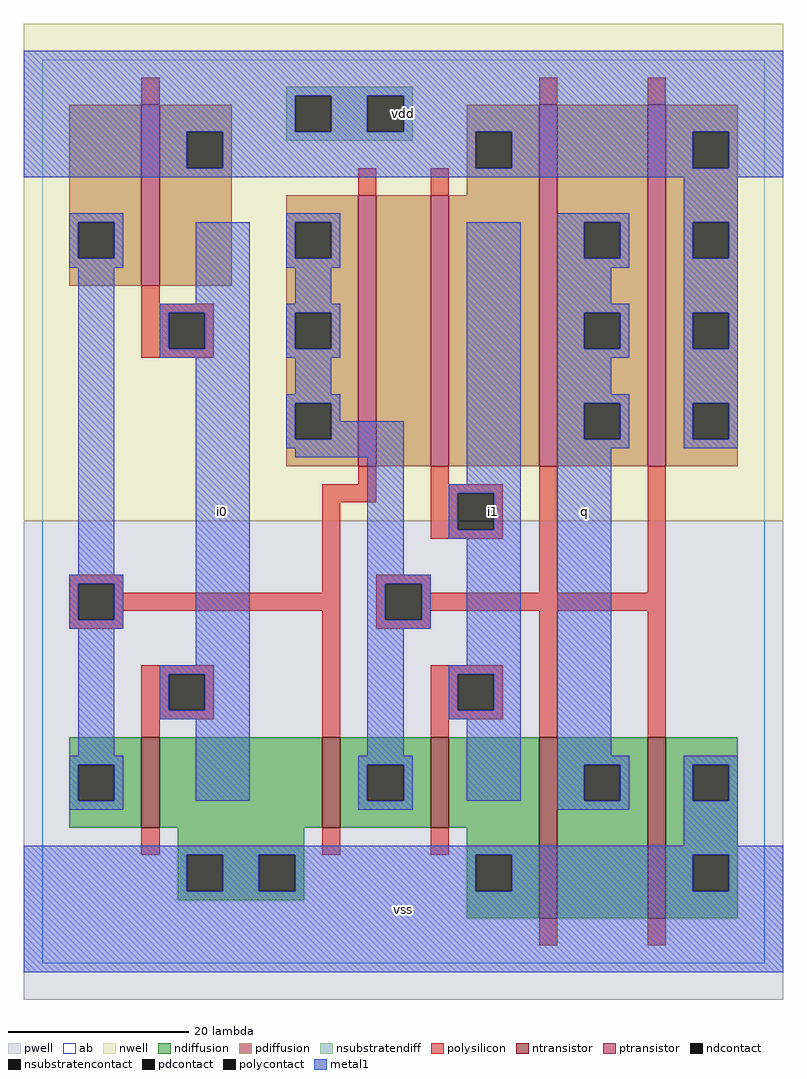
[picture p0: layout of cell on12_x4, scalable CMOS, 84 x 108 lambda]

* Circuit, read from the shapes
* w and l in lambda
.subckt on12_x4 i0 i1 q vdd vss
M1 vss i0 n1 VSUBS nfet w=10 l=2
M2 n2 n1 vss VSUBS nfet w=10 l=2
M3 vss i1 n2 VSUBS nfet w=10 l=2
M4 q n2 vss VSUBS nfet w=20 l=2 m=2
M5 vdd i0 n1 vdd pfet w=20 l=2
M6 n3 n1 n2 vdd pfet w=30 l=2
M7 vdd i1 n3 vdd pfet w=30 l=2
M8 q n2 vdd vdd pfet w=40 l=2 m=2
.ends

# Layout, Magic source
magic
tech scmos
<< ab >>
rect 0 0 80 100
<< pwell >>
rect -2 -4 82 49
<< nwell >>
rect -2 49 82 104
<< polysilicon >>
rect 11 95 13 98
rect 55 95 57 98
rect 67 95 69 98
rect 35 85 37 88
rect 43 85 45 88
rect 11 73 13 75
rect 11 72 19 73
rect 11 68 14 72
rect 18 68 19 72
rect 11 67 19 68
rect 35 53 37 55
rect 31 51 37 53
rect 43 53 45 55
rect 43 52 51 53
rect 3 42 9 43
rect 3 38 4 42
rect 8 41 9 42
rect 31 41 33 51
rect 43 48 46 52
rect 50 48 51 52
rect 43 47 51 48
rect 8 39 33 41
rect 8 38 9 39
rect 3 37 9 38
rect 11 32 19 33
rect 11 28 14 32
rect 18 28 19 32
rect 11 27 19 28
rect 11 25 13 27
rect 31 25 33 39
rect 37 42 43 43
rect 37 38 38 42
rect 42 41 43 42
rect 55 41 57 55
rect 67 41 69 55
rect 42 39 69 41
rect 42 38 43 39
rect 37 37 43 38
rect 43 32 51 33
rect 43 28 46 32
rect 50 28 51 32
rect 43 27 51 28
rect 43 25 45 27
rect 55 25 57 39
rect 67 25 69 39
rect 11 12 13 15
rect 31 12 33 15
rect 43 12 45 15
rect 55 2 57 5
rect 67 2 69 5
<< ndiffusion >>
rect 3 22 11 25
rect 3 18 4 22
rect 8 18 11 22
rect 3 15 11 18
rect 13 15 31 25
rect 33 22 43 25
rect 33 18 36 22
rect 40 18 43 22
rect 33 15 43 18
rect 45 15 55 25
rect 15 12 29 15
rect 47 12 55 15
rect 15 8 16 12
rect 20 8 24 12
rect 28 8 29 12
rect 15 7 29 8
rect 47 8 48 12
rect 52 8 55 12
rect 47 5 55 8
rect 57 22 67 25
rect 57 18 60 22
rect 64 18 67 22
rect 57 5 67 18
rect 69 22 77 25
rect 69 18 72 22
rect 76 18 77 22
rect 69 12 77 18
rect 69 8 72 12
rect 76 8 77 12
rect 69 5 77 8
<< pdiffusion >>
rect 3 82 11 95
rect 3 78 4 82
rect 8 78 11 82
rect 3 75 11 78
rect 13 92 21 95
rect 13 88 16 92
rect 20 88 21 92
rect 47 92 55 95
rect 47 88 48 92
rect 52 88 55 92
rect 13 75 21 88
rect 47 85 55 88
rect 27 82 35 85
rect 27 78 28 82
rect 32 78 35 82
rect 27 72 35 78
rect 27 68 28 72
rect 32 68 35 72
rect 27 62 35 68
rect 27 58 28 62
rect 32 58 35 62
rect 27 55 35 58
rect 37 55 43 85
rect 45 55 55 85
rect 57 82 67 95
rect 57 78 60 82
rect 64 78 67 82
rect 57 72 67 78
rect 57 68 60 72
rect 64 68 67 72
rect 57 62 67 68
rect 57 58 60 62
rect 64 58 67 62
rect 57 55 67 58
rect 69 92 77 95
rect 69 88 72 92
rect 76 88 77 92
rect 69 82 77 88
rect 69 78 72 82
rect 76 78 77 82
rect 69 72 77 78
rect 69 68 72 72
rect 76 68 77 72
rect 69 62 77 68
rect 69 58 72 62
rect 76 58 77 62
rect 69 55 77 58
<< metal1 >>
rect -2 96 82 101
rect -2 92 28 96
rect 32 92 36 96
rect 40 92 82 96
rect -2 88 16 92
rect 20 88 48 92
rect 52 88 72 92
rect 76 88 82 92
rect -2 87 82 88
rect 3 82 9 83
rect 27 82 33 83
rect 57 82 65 83
rect 3 78 4 82
rect 8 78 9 82
rect 3 77 9 78
rect 4 43 8 77
rect 17 73 23 82
rect 27 78 28 82
rect 32 78 33 82
rect 27 77 33 78
rect 28 73 32 77
rect 13 72 23 73
rect 13 68 14 72
rect 18 68 23 72
rect 13 67 23 68
rect 27 72 33 73
rect 27 68 28 72
rect 32 68 33 72
rect 27 67 33 68
rect 3 42 9 43
rect 3 38 4 42
rect 8 38 9 42
rect 3 37 9 38
rect 4 23 8 37
rect 17 33 23 67
rect 28 63 32 67
rect 27 62 33 63
rect 27 58 28 62
rect 32 60 33 62
rect 32 58 40 60
rect 27 57 40 58
rect 28 56 40 57
rect 13 32 23 33
rect 13 28 14 32
rect 18 28 23 32
rect 13 27 23 28
rect 3 22 9 23
rect 3 18 4 22
rect 8 18 9 22
rect 17 18 23 27
rect 36 43 40 56
rect 47 53 53 82
rect 45 52 53 53
rect 45 48 46 52
rect 50 48 53 52
rect 45 47 53 48
rect 36 42 43 43
rect 36 38 38 42
rect 42 38 43 42
rect 36 37 43 38
rect 36 23 40 37
rect 47 33 53 47
rect 45 32 53 33
rect 45 28 46 32
rect 50 28 53 32
rect 45 27 53 28
rect 35 22 41 23
rect 35 18 36 22
rect 40 18 41 22
rect 47 18 53 27
rect 57 78 60 82
rect 64 78 65 82
rect 57 77 65 78
rect 71 82 77 87
rect 71 78 72 82
rect 76 78 77 82
rect 57 73 63 77
rect 57 72 65 73
rect 57 68 60 72
rect 64 68 65 72
rect 57 67 65 68
rect 71 72 77 78
rect 71 68 72 72
rect 76 68 77 72
rect 57 63 63 67
rect 57 62 65 63
rect 57 58 60 62
rect 64 58 65 62
rect 57 57 65 58
rect 71 62 77 68
rect 71 58 72 62
rect 76 58 77 62
rect 71 57 77 58
rect 57 23 63 57
rect 57 22 65 23
rect 57 18 60 22
rect 64 18 65 22
rect 3 17 9 18
rect 35 17 41 18
rect 57 17 65 18
rect 71 22 77 23
rect 71 18 72 22
rect 76 18 77 22
rect 71 13 77 18
rect -2 12 82 13
rect -2 8 16 12
rect 20 8 24 12
rect 28 8 48 12
rect 52 8 72 12
rect 76 8 82 12
rect -2 -1 82 8
<< ntransistor >>
rect 11 15 13 25
rect 31 15 33 25
rect 43 15 45 25
rect 55 5 57 25
rect 67 5 69 25
<< ptransistor >>
rect 11 75 13 95
rect 35 55 37 85
rect 43 55 45 85
rect 55 55 57 95
rect 67 55 69 95
<< polycontact >>
rect 14 68 18 72
rect 4 38 8 42
rect 46 48 50 52
rect 14 28 18 32
rect 38 38 42 42
rect 46 28 50 32
<< ndcontact >>
rect 4 18 8 22
rect 36 18 40 22
rect 16 8 20 12
rect 24 8 28 12
rect 48 8 52 12
rect 60 18 64 22
rect 72 18 76 22
rect 72 8 76 12
<< pdcontact >>
rect 4 78 8 82
rect 16 88 20 92
rect 48 88 52 92
rect 28 78 32 82
rect 28 68 32 72
rect 28 58 32 62
rect 60 78 64 82
rect 60 68 64 72
rect 60 58 64 62
rect 72 88 76 92
rect 72 78 76 82
rect 72 68 76 72
rect 72 58 76 62
<< nsubstratencontact >>
rect 28 92 32 96
rect 36 92 40 96
<< nsubstratendiff >>
rect 27 96 41 97
rect 27 92 28 96
rect 32 92 36 96
rect 40 92 41 96
rect 27 91 41 92
<< labels >>
rlabel metal1 20 50 20 50 6 i0
rlabel metal1 20 50 20 50 6 i0
rlabel metal1 40 6 40 6 6 vss
rlabel metal1 40 6 40 6 6 vss
rlabel metal1 50 50 50 50 6 i1
rlabel metal1 60 50 60 50 6 q
rlabel metal1 50 50 50 50 6 i1
rlabel metal1 60 50 60 50 6 q
rlabel metal1 40 94 40 94 6 vdd
rlabel metal1 40 94 40 94 6 vdd
<< end >>
